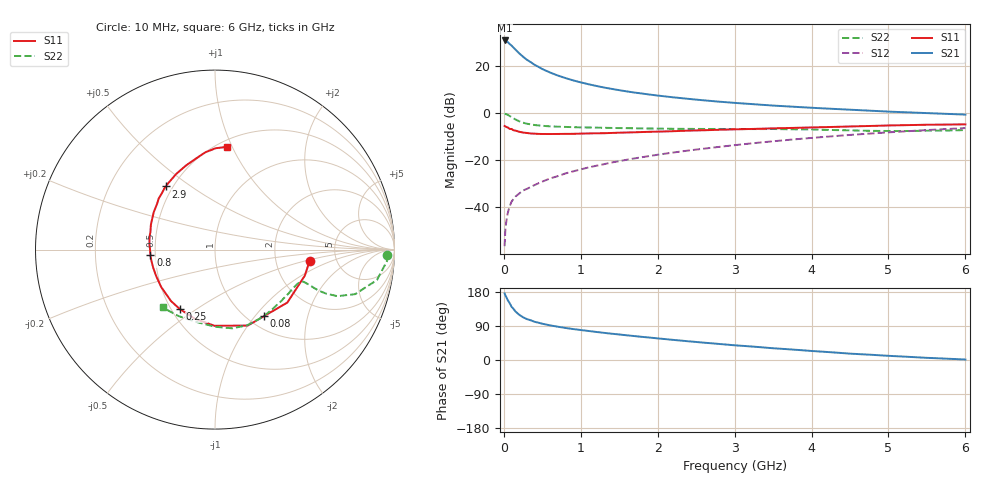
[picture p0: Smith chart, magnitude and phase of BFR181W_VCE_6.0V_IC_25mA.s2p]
! Infineon Technologies  Discrete & RF Semiconductors
! BFR181W
! VCE =  6.0 V,  IC =  25 mA
! Common Emitter S-Parameters:  Jan 2017
# GHz  S  MA  R  50
!  f  S11  S21  S12  S22
! GHz  MAG  ANG  MAG  ANG  MAG  ANG  MAG  ANG
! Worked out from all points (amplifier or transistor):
!   77 points, 10 MHz to 6 GHz, reference 50 ohm
!   highest |S21| = 30.8 dB at 10 MHz (marker M1)
!   |S21| within 3 dB of that: start of sweep to 124.8 MHz
!   unconditionally stable (mu >= 1): 497.1 MHz to 2.414 GHz
!   at 130 MHz: K = 0.47, MSG = 31.9 dB, |S12| = -36.2 dB
!   at 2.2 GHz: K = 1.03, MAG = 10.6 dB, |S12| = -16.8 dB
!   at 6 GHz: K = 0.84, MSG = 2.9 dB, |S12| = -6.4 dB
!   S11 on the Smith chart (normalised r, x): 10 MHz: 3.17, -0.54; 80 MHz: 1.18, -1.11; 250 MHz: 0.55, -0.43; 800 MHz: 0.47, -0.03; 2.9 GHz: 0.46, +0.40; 6 GHz: 0.56, +0.95
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0.01  0.5313 -6.6  34.62 175.6  0.0015 90.4  0.9611 -1.7
0.02  0.5211 -16.1  34.16 170.6  0.0034 87.5  0.9592 -4.0
0.05  0.4995 -36.2  32.03 158.2  0.0074 77.0  0.9184 -10.6
0.08  0.4602 -53.9  28.67 148.3  0.0109 73.1  0.8577 -14.6
0.1  0.461 -66.6  27 140.5  0.0132 71.7  0.8198 -17.6
0.15  0.4246 -90.3  22.25 128.3  0.0169 64.3  0.7311 -20.8
0.2  0.4004 -106.8  18.44 119.3  0.0196 65.1  0.6682 -21.6
0.25  0.385 -120.5  15.63 112.8  0.0228 62.6  0.6246 -21.6
0.3  0.3772 -130.5  13.46 107.9  0.0246 63.9  0.5931 -21.2
0.4  0.3652 -145.2  10.53 100.8  0.0297 66.4  0.5565 -20.4
0.5  0.3594 -155.7  8.569 95.7  0.0351 68.1  0.5356 -20.1
0.6  0.3588 -163.6  7.239 91.4  0.0409 69.9  0.5221 -20.0
0.7  0.3598 -170.1  6.253 87.9  0.0458 71.7  0.5135 -20.3
0.8  0.3614 -175.6  5.522 84.6  0.0523 73.4  0.5072 -21.0
1.1  0.3691 171.7  4.083 76.6  0.0702 75.6  0.4938 -23.6
1.5  0.383 158.9  3.052 67.4  0.0953 76.1  0.4794 -28.9
2.1  0.407 143.9  2.25 55.1  0.1377 75.1  0.4652 -39.3
2.9  0.446 127.9  1.691 40.6  0.1998 71.3  0.4586 -55.4
3.1  0.4542 124.3  1.599 37.4  0.2167 69.9  0.4572 -59.4
4.1  0.4993 107.6  1.268 22.5  0.3056 61.7  0.4435 -80.0
5.1  0.5485 94.4  1.056 10.0  0.3981 51.4  0.4152 -107.0
6  0.5753 83.6  0.926 1.2  0.4801 41.4  0.4351 -132.2
